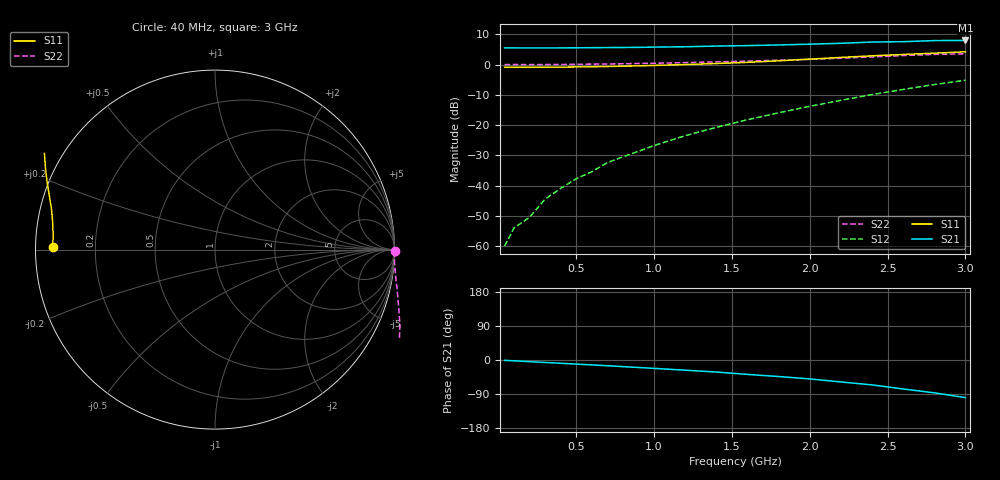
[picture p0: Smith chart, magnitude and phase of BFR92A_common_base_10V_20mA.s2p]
! Filename:  BFR92ACJ.S2P  Version:  2.0
! Philips part #: BFR92A  Date: Jul 1990
! Bias condition: Vce=10V, Ic=20mA
! COMMON BASE
#  MHz  S  MA  R  50
! Freq  S11  S21  S12  S22
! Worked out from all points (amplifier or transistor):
!   21 points, 40 MHz to 3 GHz, reference 50 ohm
!   highest |S21| = 8.0 dB at 3 GHz (marker M1)
!   |S21| within 3 dB of that: start of sweep to end of sweep
!   unconditionally stable (mu >= 1): nowhere
!   at 300 MHz: K = -0.62, MSG = 25.0 dB, |S12| = -44.4 dB
!   at 1 GHz: K = -0.94, MSG = 16.3 dB, |S12| = -26.7 dB
!   at 3 GHz: K = -0.89, MSG = 6.6 dB, |S12| = -5.2 dB
40  0.905 179.1  1.893 -1.0  0.001 60.8  1.002 -0.6
100  0.905 178.0  1.892 -2.1  0.002 81.8  1.004 -1.3
200  0.904 176.1  1.889 -4.4  0.003 111.4  1.002 -2.9
300  0.906 174.3  1.888 -6.5  0.006 125.6  1.003 -4.4
400  0.911 172.7  1.892 -8.6  0.009 131.5  1.008 -5.8
500  0.916 170.8  1.898 -10.8  0.013 137.0  1.013 -7.3
600  0.923 169.1  1.909 -12.9  0.017 140.0  1.019 -8.7
700  0.932 167.2  1.916 -15.1  0.024 142.8  1.026 -10.2
800  0.943 165.4  1.923 -17.5  0.03 144.9  1.035 -11.7
900  0.956 163.8  1.931 -19.8  0.037 146.4  1.045 -13.4
1000  0.971 161.9  1.95 -22.1  0.046 147.4  1.055 -15.0
1200  1.004 158.5  1.975 -26.9  0.067 147.9  1.081 -18.5
1400  1.044 154.7  2.028 -31.8  0.092 146.8  1.112 -22.1
1600  1.091 150.6  2.065 -38.0  0.123 146.0  1.145 -26.2
1800  1.156 146.5  2.116 -43.6  0.16 143.6  1.184 -30.8
2000  1.233 142.2  2.18 -49.9  0.205 140.9  1.223 -36.2
2200  1.317 137.7  2.253 -57.9  0.257 137.5  1.276 -42.7
2400  1.4 132.8  2.363 -65.7  0.32 133.0  1.344 -49.9
2600  1.472 126.1  2.397 -76.4  0.389 128.2  1.415 -57.8
2800  1.549 117.8  2.499 -86.7  0.469 121.6  1.477 -66.0
3000  1.631 108.7  2.511 -99.2  0.552 114.9  1.51 -75.4
